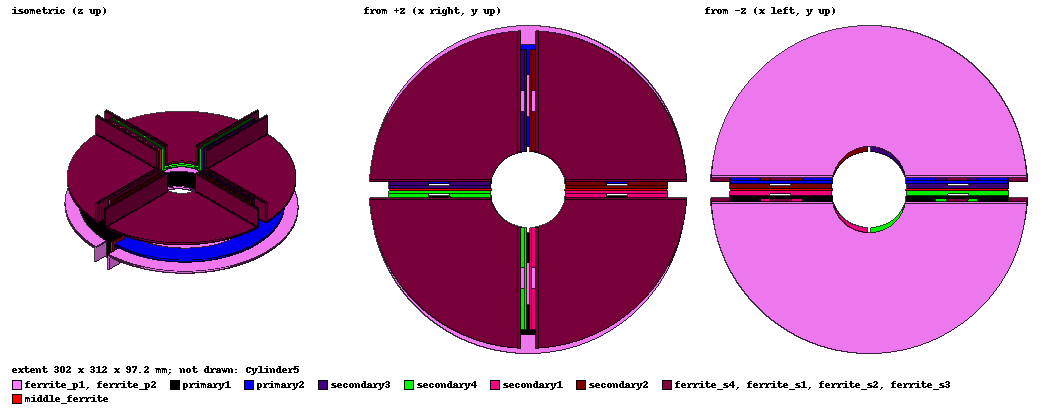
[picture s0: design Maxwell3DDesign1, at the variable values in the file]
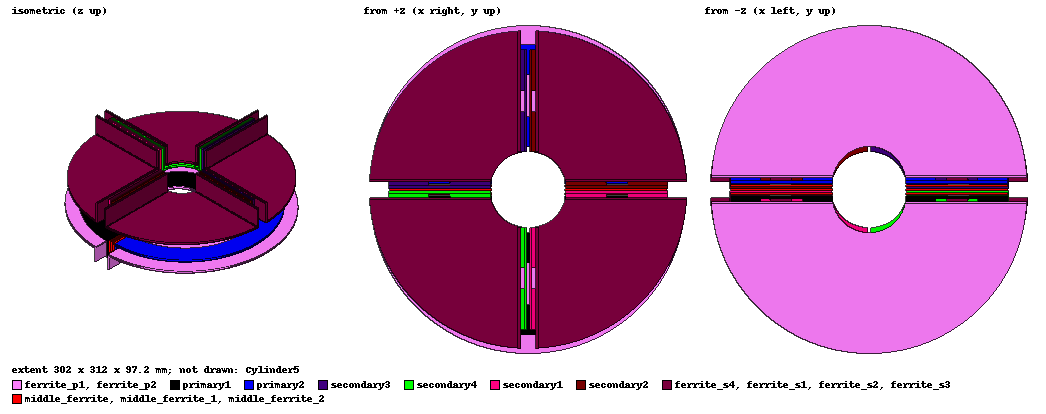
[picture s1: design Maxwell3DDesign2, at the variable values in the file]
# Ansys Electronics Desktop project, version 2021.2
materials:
  vacuum: permittivity=1
  copper: permeability=0.999991 conductivity=58000000
  ferrite: permittivity=12 permeability=1000 conductivity=0.01

design Maxwell3DDesign1 (Maxwell 3D, Magnetostatic, model units mm)
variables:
  p2p = 6mm
  rip = 35mm
  np = 12
  chp = 2.4mm
  lp = 1
  rop = 132mm
  fw = 2.3mm
  f2p = 3mm
  airgap = 30mm
  s2s = 1mm
  ris = 35mm
  chs = 2.4mm
  ns = 16
  ls = 1
  ros = 132mm
  f2s = 4mm
  height = 200mm
  rotation = 0deg
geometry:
  coordinate_system primary_coordinates = origin=(0mm, -p2p, 0mm) x=(1mm, 0mm, 0mm) y=(0mm, 1mm, 0mm)
  Rectangle1 = rectangle(corner=(rip, 0mm, 0mm), z_size=-chp*lp, x_size=(np*chp)/lp) in primary_coordinates
  Rectangle2 = rectangle(corner=(rop, 0mm, 0mm), z_size=-chp*lp, x_size=-(np*chp)/lp) in primary_coordinates
  [Rectangle1, Rectangle2].sweep_around_axis(axis=Z, angle=-180deg) in primary_coordinates
  primary1 [copper] = box(corner=(rip, 0mm, 0mm), size=(rop-rip, -chp*lp, -(np*chp)/lp)) in primary_coordinates
  Box1_1 = primary1.duplicate_mirror(point=(0mm, 0mm, 0mm), normal=(-1mm, 0mm, 0mm)) in primary_coordinates
  primary1.unite(Rectangle2, Rectangle1, Box1_1)
  primary1_Section1 = primary1.section(plane=YZ) in primary_coordinates
  CurrP1 [copper] = primary1_Section1.separate_bodies()
  primary1_Section1.delete()
  coordinate_system ferrite_primer = origin=(0mm, -(chp*lp)-f2p, -(chp*lp)-f2p) x=(1mm, 0mm, 0mm) y=(0mm, 1mm, 0mm) in primary_coordinates
  Cylinder1 = cylinder(axis=Z, base_centre=(0mm, 0mm, -(chp*lp)-f2p), radius=150mm, height=-fw) in primary_coordinates
  Cylinder1.split(plane=ZX, keep=NegativeOnly) in ferrite_primer
  Cylinder2 = cylinder(axis=Z, base_centre=(0mm, 0mm, -(chp*lp)-f2p), radius=rip, height=-fw) in primary_coordinates
  Cylinder2.split(plane=ZX, keep=NegativeOnly) in ferrite_primer
  Cylinder1.subtract(Cylinder2)
  ferrite_p1 [ferrite] = box(corner=(rip, 0mm, 0mm), size=(150mm-rip, -fw, -(chp*np)/lp+chp*lp+f2p)) in ferrite_primer
  Box1_2 = ferrite_p1.duplicate_mirror(point=(0mm, 0mm, 0mm), normal=(-1mm, 0mm, 0mm)) in ferrite_primer
  ferrite_p1.unite(Cylinder1, Box1_2)
  primary2 [copper] = primary1.duplicate_mirror(point=(0mm, 0mm, 0mm), normal=(0mm, 1mm, 0mm))
  ferrite_p2 [ferrite] = ferrite_p1.duplicate_mirror(point=(0mm, 0mm, 0mm), normal=(0mm, 1mm, 0mm))
  CurrP2 [copper] = CurrP1.duplicate_mirror(point=(0mm, 0mm, 0mm), normal=(0mm, 1mm, 0mm))
  middle_ferrite [ferrite] = box(corner=(rip, -fw/2, 0mm), size=(rop-rip, fw, -(chp*np)/lp))
  Box1_3 = middle_ferrite.duplicate_mirror(point=(0mm, 0mm, 0mm), normal=(-1mm, 0mm, 0mm))
  middle_ferrite.unite(Box1_3)
  coordinate_system secondary_coordinates = origin=(s2s, -s2s, airgap) x=(1mm, 0mm, 0mm) y=(0mm, 1mm, 0mm)
  Rectangle3 = rectangle(corner=(ris, 0mm, 0mm), z_size=chs*ls, x_size=(chs*ns)/ls) in secondary_coordinates
  Rectangle4 = rectangle(corner=(ros, 0mm, 0mm), z_size=chs*ls, x_size=-(chs*ns)/ls) in secondary_coordinates
  [Rectangle3, Rectangle4].sweep_around_axis(axis=Z, angle=-90deg) in secondary_coordinates
  secondary1 [copper] = box(corner=(ris, 0mm, 0mm), size=(ros-ris, -(chs*ls), (chs*ns)/ls)) in secondary_coordinates
  coordinate_system seconder_current = origin=(0mm, 0mm, 0mm) x=(20mm, -20mm, 0mm) y=(-10mm, -10mm, 0mm) in secondary_coordinates
  coordinate_system ferrite_seconder = origin=((chs*ls)+f2s, -(chs*ls)-f2s, 0mm) x=(1mm, 0mm, 0mm) y=(0mm, 1mm, 0mm) in secondary_coordinates
  Box2 = box(corner=(0, -ris, 0mm), size=((chs*ls), -ros+ris, (chs*ns)/ls)) in secondary_coordinates
  secondary1.unite(Box2, Rectangle3, Rectangle4)
  Cylinder3 = cylinder(axis=Z, base_centre=(0mm, 0mm, (chs*ls)+f2s), radius=150mm, height=fw) in secondary_coordinates
  Cylinder4 = cylinder(axis=Z, base_centre=(0mm, 0mm, (chs*ls)+f2s), radius=ris, height=fw) in secondary_coordinates
  Cylinder3.subtract(Cylinder4)
  Cylinder3.split(plane=YZ, keep=PositiveOnly) in ferrite_seconder
  Cylinder3.split(plane=ZX, keep=NegativeOnly) in ferrite_seconder
  Box3 = box(corner=(ris-(chs*ls)-f2s, 0mm, f2s+(chs*ls)), size=(150mm-ris, -fw, ((chs*ns)/ls)-f2s-(chs*ls))) in ferrite_seconder
  ferrite_s1 [ferrite] = box(corner=(0, -ris+(chs*ls)+f2s, f2s+(chs*ls)), size=(fw, -150mm+ris, ((chs*ns)/ls)-f2s-(chs*ls))) in ferrite_seconder
  ferrite_s1.unite(Cylinder3, Box3)
  secondary1_Section1 = secondary1.section(plane=ZX) in seconder_current
  CurrS1 [copper] = secondary1_Section1.separate_bodies()
  secondary1_Section1.delete()
  ferrite_s2, ferrite_s3, ferrite_s4 [ferrite] = ferrite_s1.duplicate_around_axis(axis=Z, angle=90deg, total=4)
  secondary2, secondary3, secondary4 [copper] = secondary1.duplicate_around_axis(axis=Z, angle=90deg, total=4)
  CurrS2, CurrS3, CurrS4 [copper] = CurrS1.duplicate_around_axis(axis=Z, angle=90deg, total=4)
  Cylinder5 [vacuum] = cylinder(axis=Z, base_centre=(0mm, 0mm, airgap-height/2), radius=rop+ros, height=height)
  [secondary1..secondary4, ferrite_s1..ferrite_s4, CurrS1..CurrS4].rotate(axis=Z, angle=rotation)
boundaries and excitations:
  Insulating1: Insulating Objects=[primary1, primary2, secondary1..secondary4]
  ZeroTangentialHField1: Zero Tangential H Field Faces=Cylinder5.face(all 3)
  primer1: Current Objects=CurrP1 Current=10A IsSolid=false Point_out_of_terminal=false
  primer2: Current Objects=CurrP2 Current=10A IsSolid=false Point_out_of_terminal=true
  seconder1: Current Objects=CurrS1 Current=6A IsSolid=false Point_out_of_terminal=true
  seconder2: Current Objects=CurrS2 Current=6A IsSolid=false Point_out_of_terminal=true
  seconder3: Current Objects=CurrS3 Current=6A IsSolid=false Point_out_of_terminal=true
  seconder4: Current Objects=CurrS4 Current=6A IsSolid=false Point_out_of_terminal=true
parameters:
  Inductance: Matrix primer1, primer2: NumberOfTurns=np; seconder1..seconder4: NumberOfTurns=ns
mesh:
  initial mesh: GlobalCurvilinear{Apply}
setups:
  Setup1: Magnetostatic MaximumPasses=10 MinimumPasses=2 MinimumConvergedPasses=1 PercentRefinement=30 PercentError=1 NonLinearResidual=0.001
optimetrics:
  airgap: Parametric Sim._Setups=[Setup1]
    sweep np: LIN 12 16 1
    sweep ns: LIN 15 18 1
    sweep airgap: LIN 30mm 33mm 1mm
  rotation: Parametric Sim._Setups=[Setup1]
    sweep rotation: LIN 0deg 360deg 15deg

design Maxwell3DDesign2 (Maxwell 3D, Magnetostatic, model units mm)
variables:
  p2p = 6mm
  rip = 35mm
  np = 12
  chp = 2.4mm
  lp = 1
  rop = 132mm
  fw = 2.3mm
  f2p = 3mm
  airgap = 30mm
  s2s = 1mm
  ris = 35mm
  chs = 2.4mm
  ns = 16
  ls = 1
  ros = 132mm
  f2s = 4mm
  height = 200mm
  rotation = 0deg
  p2f = 4mm
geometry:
  coordinate_system primary_coordinates = origin=(0mm, -p2p, 0mm) x=(1mm, 0mm, 0mm) y=(0mm, 1mm, 0mm)
  Rectangle1 = rectangle(corner=(rip, 0mm, 0mm), z_size=-chp*lp, x_size=(np*chp)/lp) in primary_coordinates
  Rectangle2 = rectangle(corner=(rop, 0mm, 0mm), z_size=-chp*lp, x_size=-(np*chp)/lp) in primary_coordinates
  [Rectangle1, Rectangle2].sweep_around_axis(axis=Z, angle=-180deg) in primary_coordinates
  primary1 [copper] = box(corner=(rip, 0mm, 0mm), size=(rop-rip, -chp*lp, -(np*chp)/lp)) in primary_coordinates
  Box1_1 = primary1.duplicate_mirror(point=(0mm, 0mm, 0mm), normal=(-1mm, 0mm, 0mm)) in primary_coordinates
  primary1.unite(Rectangle2, Rectangle1, Box1_1)
  primary1_Section1 = primary1.section(plane=YZ) in primary_coordinates
  CurrP1 [copper] = primary1_Section1.separate_bodies()
  primary1_Section1.delete()
  coordinate_system ferrite_primer = origin=(0mm, -(chp*lp)-f2p, -(chp*lp)-f2p) x=(1mm, 0mm, 0mm) y=(0mm, 1mm, 0mm) in primary_coordinates
  Cylinder1 = cylinder(axis=Z, base_centre=(0mm, 0mm, -(chp*lp)-f2p), radius=150mm, height=-fw) in primary_coordinates
  Cylinder1.split(plane=ZX, keep=NegativeOnly) in ferrite_primer
  Cylinder2 = cylinder(axis=Z, base_centre=(0mm, 0mm, -(chp*lp)-f2p), radius=rip, height=-fw) in primary_coordinates
  Cylinder2.split(plane=ZX, keep=NegativeOnly) in ferrite_primer
  Cylinder1.subtract(Cylinder2)
  ferrite_p1 [ferrite] = box(corner=(rip, 0mm, 0mm), size=(150mm-rip, -fw, -(chp*np)/lp+chp*lp+f2p)) in ferrite_primer
  Box1_2 = ferrite_p1.duplicate_mirror(point=(0mm, 0mm, 0mm), normal=(-1mm, 0mm, 0mm)) in ferrite_primer
  ferrite_p1.unite(Cylinder1, Box1_2)
  primary2 [copper] = primary1.duplicate_mirror(point=(0mm, 0mm, 0mm), normal=(0mm, 1mm, 0mm))
  ferrite_p2 [ferrite] = ferrite_p1.duplicate_mirror(point=(0mm, 0mm, 0mm), normal=(0mm, 1mm, 0mm))
  CurrP2 [copper] = CurrP1.duplicate_mirror(point=(0mm, 0mm, 0mm), normal=(0mm, 1mm, 0mm))
  middle_ferrite [ferrite] = box(corner=(rip, -fw/2, 0mm), size=(rop-rip, fw, -(chp*np)/lp))
  Box1_3 = middle_ferrite.duplicate_mirror(point=(0mm, 0mm, 0mm), normal=(-1mm, 0mm, 0mm))
  middle_ferrite.unite(Box1_3)
  coordinate_system secondary_coordinates = origin=(s2s, -s2s, airgap) x=(1mm, 0mm, 0mm) y=(0mm, 1mm, 0mm)
  Rectangle3 = rectangle(corner=(ris, 0mm, 0mm), z_size=chs*ls, x_size=(chs*ns)/ls) in secondary_coordinates
  Rectangle4 = rectangle(corner=(ros, 0mm, 0mm), z_size=chs*ls, x_size=-(chs*ns)/ls) in secondary_coordinates
  [Rectangle3, Rectangle4].sweep_around_axis(axis=Z, angle=-90deg) in secondary_coordinates
  secondary1 [copper] = box(corner=(ris, 0mm, 0mm), size=(ros-ris, -(chs*ls), (chs*ns)/ls)) in secondary_coordinates
  coordinate_system seconder_current = origin=(0mm, 0mm, 0mm) x=(20mm, -20mm, 0mm) y=(-10mm, -10mm, 0mm) in secondary_coordinates
  coordinate_system ferrite_seconder = origin=((chs*ls)+f2s, -(chs*ls)-f2s, 0mm) x=(1mm, 0mm, 0mm) y=(0mm, 1mm, 0mm) in secondary_coordinates
  Box2 = box(corner=(0, -ris, 0mm), size=((chs*ls), -ros+ris, (chs*ns)/ls)) in secondary_coordinates
  secondary1.unite(Box2, Rectangle3, Rectangle4)
  Cylinder3 = cylinder(axis=Z, base_centre=(0mm, 0mm, (chs*ls)+f2s), radius=150mm, height=fw) in secondary_coordinates
  Cylinder4 = cylinder(axis=Z, base_centre=(0mm, 0mm, (chs*ls)+f2s), radius=ris, height=fw) in secondary_coordinates
  Cylinder3.subtract(Cylinder4)
  Cylinder3.split(plane=YZ, keep=PositiveOnly) in ferrite_seconder
  Cylinder3.split(plane=ZX, keep=NegativeOnly) in ferrite_seconder
  Box3 = box(corner=(ris-(chs*ls)-f2s, 0mm, f2s+(chs*ls)), size=(150mm-ris, -fw, ((chs*ns)/ls)-f2s-(chs*ls))) in ferrite_seconder
  ferrite_s1 [ferrite] = box(corner=(0, -ris+(chs*ls)+f2s, f2s+(chs*ls)), size=(fw, -150mm+ris, ((chs*ns)/ls)-f2s-(chs*ls))) in ferrite_seconder
  ferrite_s1.unite(Cylinder3, Box3)
  secondary1_Section1 = secondary1.section(plane=ZX) in seconder_current
  CurrS1 [copper] = secondary1_Section1.separate_bodies()
  secondary1_Section1.delete()
  ferrite_s2, ferrite_s3, ferrite_s4 [ferrite] = ferrite_s1.duplicate_around_axis(axis=Z, angle=90deg, total=4)
  secondary2, secondary3, secondary4 [copper] = secondary1.duplicate_around_axis(axis=Z, angle=90deg, total=4)
  CurrS2, CurrS3, CurrS4 [copper] = CurrS1.duplicate_around_axis(axis=Z, angle=90deg, total=4)
  Cylinder5 [vacuum] = cylinder(axis=Z, base_centre=(0mm, 0mm, airgap-height/2), radius=rop+ros, height=height)
  [secondary1..secondary4, ferrite_s1..ferrite_s4, CurrS1..CurrS4].rotate(axis=Z, angle=rotation)
  middle_ferrite_1 [ferrite] = middle_ferrite.duplicate_along_line(step=(0mm, p2f, 0mm), total=2)
  middle_ferrite1 = box(corner=(rip, -fw/2, 0mm), size=(rop-rip, fw, -(chp*np)/lp))
  Box1_4 = middle_ferrite1.duplicate_mirror(point=(0mm, 0mm, 0mm), normal=(-1mm, 0mm, 0mm))
  middle_ferrite1.unite(Box1_4)
  middle_ferrite_2 [ferrite] = middle_ferrite1.duplicate_along_line(step=(0mm, -p2f, 0mm), total=2)
  middle_ferrite1.delete()
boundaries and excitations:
  Insulating1: Insulating Objects=[primary1, primary2, secondary1..secondary4]
  ZeroTangentialHField1: Zero Tangential H Field Faces=Cylinder5.face(all 3)
  primer1: Current Objects=CurrP1 Current=10A IsSolid=false Point_out_of_terminal=false
  primer2: Current Objects=CurrP2 Current=10A IsSolid=false Point_out_of_terminal=true
  seconder1: Current Objects=CurrS1 Current=6A IsSolid=false Point_out_of_terminal=true
  seconder2: Current Objects=CurrS2 Current=6A IsSolid=false Point_out_of_terminal=true
  seconder3: Current Objects=CurrS3 Current=6A IsSolid=false Point_out_of_terminal=true
  seconder4: Current Objects=CurrS4 Current=6A IsSolid=false Point_out_of_terminal=true
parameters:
  Inductance: Matrix primer1, primer2: NumberOfTurns=np; seconder1..seconder4: NumberOfTurns=ns
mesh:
  initial mesh: GlobalCurvilinear{Apply}
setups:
  Setup1: Magnetostatic MaximumPasses=10 MinimumPasses=2 MinimumConvergedPasses=1 PercentRefinement=30 PercentError=1 NonLinearResidual=0.001
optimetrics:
  airgap: Parametric Sim._Setups=[Setup1]
    sweep np: LIN 12 16 1
    sweep ns: LIN 15 18 1
    sweep airgap: LIN 30mm 33mm 1mm
  rotation: Parametric Sim._Setups=[Setup1]
    sweep rotation: LIN 0deg 360deg 15deg
